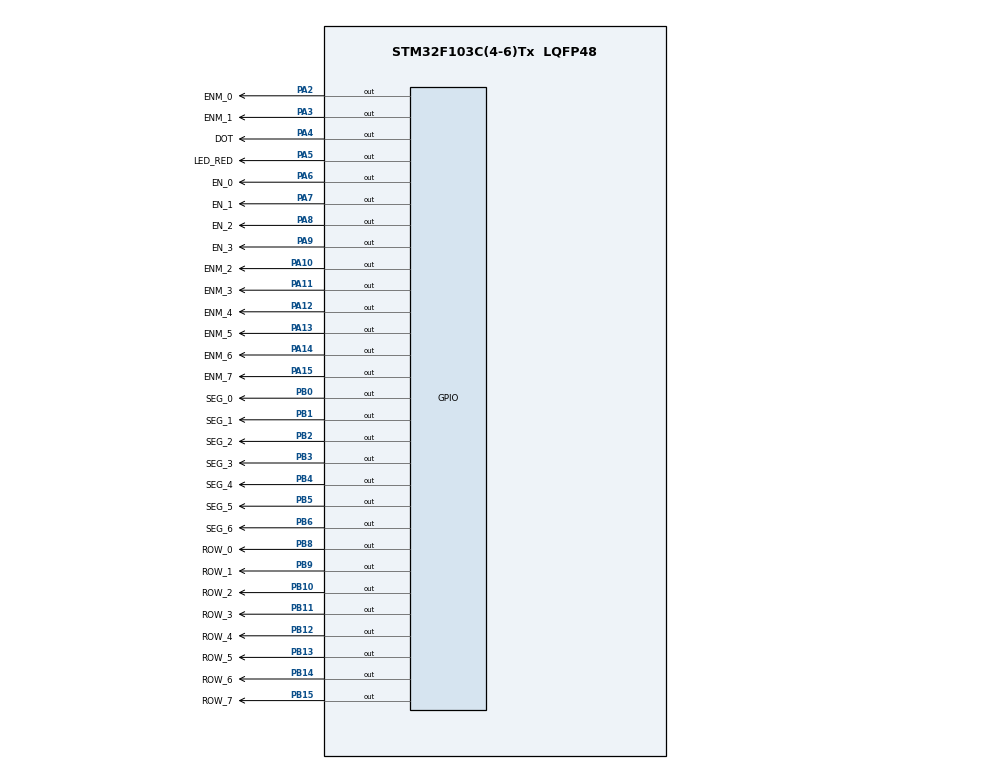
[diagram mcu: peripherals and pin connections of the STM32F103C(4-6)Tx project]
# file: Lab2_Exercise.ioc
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Mcu.Family=STM32F1
Mcu.Name=STM32F103C(4-6)Tx
Mcu.Package=LQFP48
NVIC.PriorityGroup=NVIC_PRIORITYGROUP_4
NVIC.TIM2_IRQn=true\:0\:0\:false\:false\:true\:true\:true\:true
PA10.GPIO_Label=ENM_2
PA10.Signal=GPIO_Output
PA11.GPIO_Label=ENM_3
PA11.Signal=GPIO_Output
PA12.GPIO_Label=ENM_4
PA12.Signal=GPIO_Output
PA13.GPIO_Label=ENM_5
PA13.Signal=GPIO_Output
PA14.GPIO_Label=ENM_6
PA14.Signal=GPIO_Output
PA15.GPIO_Label=ENM_7
PA15.Signal=GPIO_Output
PA2.GPIO_Label=ENM_0
PA2.Signal=GPIO_Output
PA3.GPIO_Label=ENM_1
PA3.Signal=GPIO_Output
PA4.GPIO_Label=DOT
PA4.Signal=GPIO_Output
PA5.GPIO_Label=LED_RED
PA5.Signal=GPIO_Output
PA6.GPIO_Label=EN_0
PA6.Signal=GPIO_Output
PA7.GPIO_Label=EN_1
PA7.Signal=GPIO_Output
PA8.GPIO_Label=EN_2
PA8.Signal=GPIO_Output
PA9.GPIO_Label=EN_3
PA9.Signal=GPIO_Output
PB0.GPIO_Label=SEG_0
PB0.Signal=GPIO_Output
PB1.GPIO_Label=SEG_1
PB1.Signal=GPIO_Output
PB10.GPIO_Label=ROW_2
PB10.Signal=GPIO_Output
PB11.GPIO_Label=ROW_3
PB11.Signal=GPIO_Output
PB12.GPIO_Label=ROW_4
PB12.Signal=GPIO_Output
PB13.GPIO_Label=ROW_5
PB13.Signal=GPIO_Output
PB14.GPIO_Label=ROW_6
PB14.Signal=GPIO_Output
PB15.GPIO_Label=ROW_7
PB15.Signal=GPIO_Output
PB2.GPIO_Label=SEG_2
PB2.Signal=GPIO_Output
PB3.GPIO_Label=SEG_3
PB3.Signal=GPIO_Output
PB4.GPIO_Label=SEG_4
PB4.Signal=GPIO_Output
PB5.GPIO_Label=SEG_5
PB5.Signal=GPIO_Output
PB6.GPIO_Label=SEG_6
PB6.Signal=GPIO_Output
PB8.GPIO_Label=ROW_0
PB8.Signal=GPIO_Output
PB9.GPIO_Label=ROW_1
PB9.Signal=GPIO_Output
ProjectManager.HeapSize=0x200
ProjectManager.StackSize=0x400
ProjectManager.TargetToolchain=STM32CubeIDE
RCC.APB1Freq_Value=8000000
RCC.APB2Freq_Value=8000000
TIM2.Period=9
TIM2.Prescaler=7999
VP_TIM2_VS_ClockSourceINT.Mode=Internal
board=custom

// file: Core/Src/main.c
/* USER CODE BEGIN Header */
/**
  ******************************************************************************
  * @file           : main.c
  * @brief          : Main program body
  ******************************************************************************
  * @attention
  *
  * Copyright (c) 2023 STMicroelectronics.
  * All rights reserved.
  *
  * This software is licensed under terms that can be found in the LICENSE file
  * in the root directory of this software component.
  * If no LICENSE file comes with this software, it is provided AS-IS.
  *
  ******************************************************************************
  */
/* USER CODE END Header */
#include "main.h"

TIM_HandleTypeDef htim2;

void SystemClock_Config(void);
static void MX_GPIO_Init(void);
static void MX_TIM2_Init(void);

/* USER CODE BEGIN 0 */
int hour = 15, minute = 8, second = 50;
int timer0_counter = 0;
int timer0_flag = 0;
int timer1_counter = 0;
int timer1_flag = 0;
int timer2_counter = 0;
int timer2_flag = 0;

int TIME_CYCLE = 10;
void setTimer0(int duration) {
	timer0_counter = duration/TIME_CYCLE;
	timer0_flag = 0;
}
void setTimer1(int duration) {
	timer1_counter = duration/TIME_CYCLE;
	timer1_flag = 0;
}
void setTimer2(int duration) {
	timer2_counter = duration/TIME_CYCLE;
	timer2_flag = 0;
}
void timer_run() {
	if(timer0_counter >0) {
		timer0_counter--;
		if(timer0_counter <= 0) {
			timer0_flag = 1;
		}
	}
	if(timer1_counter >0) {
			timer1_counter--;
			if(timer1_counter <= 0) {
				timer1_flag = 1;
			}
		}
	if(timer2_counter >0) {
		timer2_counter--;
		if(timer2_counter <= 0) {
			timer2_flag = 1;
		}
	}
}
char AnodeNumber[] = {0xC0,0xF9,0xA4,0xB0,0x99,0x92,0x82,0xF8,0x80,0x90,0x80}; //0 - 9,dp
void display7SEG(int num) {
	HAL_GPIO_WritePin(SEG_0_GPIO_Port, SEG_0_Pin, AnodeNumber[num]&0x01?SET:RESET);
	HAL_GPIO_WritePin(SEG_1_GPIO_Port, SEG_1_Pin, AnodeNumber[num]&0x02?SET:RESET);
	HAL_GPIO_WritePin(SEG_2_GPIO_Port, SEG_2_Pin, AnodeNumber[num]&0x04?SET:RESET);
	HAL_GPIO_WritePin(SEG_3_GPIO_Port, SEG_3_Pin, AnodeNumber[num]&0x08?SET:RESET);
	HAL_GPIO_WritePin(SEG_4_GPIO_Port, SEG_4_Pin, AnodeNumber[num]&0x10?SET:RESET);
	HAL_GPIO_WritePin(SEG_5_GPIO_Port, SEG_5_Pin, AnodeNumber[num]&0x20?SET:RESET);
	HAL_GPIO_WritePin(SEG_6_GPIO_Port, SEG_6_Pin, AnodeNumber[num]&0x40?SET:RESET);

}

const int MAX_LED = 4;
int index_led = 0;
int led_buffer[4] = {1, 2, 3, 4};
void update7SEG(int index){
	index = index%MAX_LED;
	switch(index){
	case 0:
		HAL_GPIO_WritePin(EN_0_GPIO_Port, EN_0_Pin, RESET);
		HAL_GPIO_WritePin(EN_1_GPIO_Port, EN_1_Pin, SET);
		HAL_GPIO_WritePin(EN_2_GPIO_Port, EN_2_Pin, SET);
		HAL_GPIO_WritePin(EN_3_GPIO_Port, EN_3_Pin, SET);
		display7SEG((led_buffer[index]));
		break;
	case 1:
		HAL_GPIO_WritePin(EN_0_GPIO_Port, EN_0_Pin, SET);
		HAL_GPIO_WritePin(EN_1_GPIO_Port, EN_1_Pin, RESET);
		HAL_GPIO_WritePin(EN_2_GPIO_Port, EN_2_Pin, SET);
		HAL_GPIO_WritePin(EN_3_GPIO_Port, EN_3_Pin, SET);
		display7SEG(led_buffer[index]);
		break;
	case 2:
		HAL_GPIO_WritePin(EN_0_GPIO_Port, EN_0_Pin, SET);
		HAL_GPIO_WritePin(EN_1_GPIO_Port, EN_1_Pin, SET);
		HAL_GPIO_WritePin(EN_2_GPIO_Port, EN_2_Pin, RESET);
		HAL_GPIO_WritePin(EN_3_GPIO_Port, EN_3_Pin, SET);
		display7SEG(led_buffer[index]);
		break;
	case 3:
		HAL_GPIO_WritePin(EN_0_GPIO_Port, EN_0_Pin, SET);
		HAL_GPIO_WritePin(EN_1_GPIO_Port, EN_1_Pin, SET);
		HAL_GPIO_WritePin(EN_2_GPIO_Port, EN_2_Pin, SET);
		HAL_GPIO_WritePin(EN_3_GPIO_Port, EN_3_Pin, RESET);
		display7SEG(led_buffer[index]);
		break;
	default:
		break;
	}

}

void enable7SEG(int num) {
	HAL_GPIO_WritePin(EN_0_GPIO_Port, EN_0_Pin, num==0?RESET:SET);
	HAL_GPIO_WritePin(EN_1_GPIO_Port, EN_1_Pin, num==1?RESET:SET);
	HAL_GPIO_WritePin(EN_2_GPIO_Port, EN_2_Pin, num==2?RESET:SET);
	HAL_GPIO_WritePin(EN_3_GPIO_Port, EN_3_Pin, num==3?RESET:SET);
}
void updateClockBuffer() {
	led_buffer[0] = hour/10;
	led_buffer[1] = hour%10;
	led_buffer[2] = minute/10;
	led_buffer[3] = minute%10;
}

void enableMatrixCol(int col) {
	HAL_GPIO_WritePin(ENM_0_GPIO_Port, ENM_0_Pin, col==0?RESET:SET);
	HAL_GPIO_WritePin(ENM_1_GPIO_Port, ENM_1_Pin, col==1?RESET:SET);
	HAL_GPIO_WritePin(ENM_2_GPIO_Port, ENM_2_Pin, col==2?RESET:SET);
	HAL_GPIO_WritePin(ENM_3_GPIO_Port, ENM_3_Pin, col==3?RESET:SET);
	HAL_GPIO_WritePin(ENM_4_GPIO_Port, ENM_4_Pin, col==4?RESET:SET);
	HAL_GPIO_WritePin(ENM_5_GPIO_Port, ENM_5_Pin, col==5?RESET:SET);
	HAL_GPIO_WritePin(ENM_6_GPIO_Port, ENM_6_Pin, col==6?RESET:SET);
	HAL_GPIO_WritePin(ENM_7_GPIO_Port, ENM_7_Pin, col==7?RESET:SET);
}

const int MAX_LED_MATRIX = 16;
int index_led_matrix = 0;
int shift_bit = 0;
//uint8_t matrix_buffer[8] = {0x18,0x3C,0x66,0x66,0x7E,0x66,0x66,0x66};
uint8_t matrix_buffer[16] = {0x00,0xFC,0xFE,0x33,0x33,0xFE,0xFC,0x00,0x00,0x00,0xFF,0x99,0x99,0x66,0x00,0x00};
void displayLEDMaxtrix(int index) {
	HAL_GPIO_WritePin(ROW_0_GPIO_Port, ROW_0_Pin, matrix_buffer[index]&0x01?RESET:SET);
	HAL_GPIO_WritePin(ROW_1_GPIO_Port, ROW_1_Pin, matrix_buffer[index]&0x02?RESET:SET);
	HAL_GPIO_WritePin(ROW_2_GPIO_Port, ROW_2_Pin, matrix_buffer[index]&0x04?RESET:SET);
	HAL_GPIO_WritePin(ROW_3_GPIO_Port, ROW_3_Pin, matrix_buffer[index]&0x08?RESET:SET);
	HAL_GPIO_WritePin(ROW_4_GPIO_Port, ROW_4_Pin, matrix_buffer[index]&0x10?RESET:SET);
	HAL_GPIO_WritePin(ROW_5_GPIO_Port, ROW_5_Pin, matrix_buffer[index]&0x20?RESET:SET);
	HAL_GPIO_WritePin(ROW_6_GPIO_Port, ROW_6_Pin, matrix_buffer[index]&0x40?RESET:SET);
	HAL_GPIO_WritePin(ROW_7_GPIO_Port, ROW_7_Pin, matrix_buffer[index]&0x80?RESET:SET);
}

//add shift_bit parameter to implement animation
void updateLEDMatrix(int index, int shift_bit) {
	index%=MAX_LED_MATRIX;
	enableMatrixCol(index);
	displayLEDMaxtrix((index+shift_bit)%MAX_LED_MATRIX);
}

/* USER CODE END 0 */

int main(void)
{

  /* MCU Configuration--------------------------------------------------------*/

  /* Reset of all peripherals, Initializes the Flash interface and the Systick. */
  HAL_Init();

  /* Configure the system clock */
  SystemClock_Config();

  /* Initialize all configured peripherals */
  MX_GPIO_Init();
  MX_TIM2_Init();
  /* USER CODE BEGIN 2 */
  HAL_TIM_Base_Start_IT(&htim2);
  /* USER CODE END 2 */

  /* Infinite loop */
  /* USER CODE BEGIN WHILE */
  setTimer0(1000);
  setTimer1(250);
  setTimer2(50);
  updateClockBuffer();
  while (1)
  {
	  if(timer0_flag == 1) {
		  second++;
		  if (second >= 60){
			  second = 0;
			  minute++;
		  }
		  if(minute >= 60){
			  minute = 0;
			  hour++;
		  }
		  if(hour >=24){
			  hour = 0;
		  }
		  HAL_GPIO_TogglePin(DOT_GPIO_Port, DOT_Pin);
		  updateClockBuffer();
		  setTimer0(1000);
	  }
	  if(timer1_flag == 1) {
		  if(index_led >= MAX_LED) {
		  			index_led=0;
		  }
		  update7SEG(index_led++);
		  setTimer1(250);
	  }
	  //update for animation shift left
	if(timer2_flag == 1) {
	  //check for scan all elements of buffers or not
		if(index_led_matrix >= MAX_LED_MATRIX) {
		  //set index_led_matrix to the beginning of the buffer
		  index_led_matrix=0;
		  //increase shift_bit if all elements of buffers are scanned
		  shift_bit = (shift_bit+1)% MAX_LED_MATRIX;
		}
		updateLEDMatrix(index_led_matrix++, shift_bit);
		setTimer2(50);
		}
    /* USER CODE END WHILE */

  }
}

void SystemClock_Config(void)
{
  RCC_OscInitTypeDef RCC_OscInitStruct = {0};
  RCC_ClkInitTypeDef RCC_ClkInitStruct = {0};

  /** Initializes the RCC Oscillators according to the specified parameters
  * in the RCC_OscInitTypeDef structure.
  */
  RCC_OscInitStruct.OscillatorType = RCC_OSCILLATORTYPE_HSI;
  RCC_OscInitStruct.HSIState = RCC_HSI_ON;
  RCC_OscInitStruct.HSICalibrationValue = RCC_HSICALIBRATION_DEFAULT;
  RCC_OscInitStruct.PLL.PLLState = RCC_PLL_NONE;
  if (HAL_RCC_OscConfig(&RCC_OscInitStruct) != HAL_OK)
  {
    Error_Handler();
  }

  /** Initializes the CPU, AHB and APB buses clocks
  */
  RCC_ClkInitStruct.ClockType = RCC_CLOCKTYPE_HCLK|RCC_CLOCKTYPE_SYSCLK
                              |RCC_CLOCKTYPE_PCLK1|RCC_CLOCKTYPE_PCLK2;
  RCC_ClkInitStruct.SYSCLKSource = RCC_SYSCLKSOURCE_HSI;
  RCC_ClkInitStruct.AHBCLKDivider = RCC_SYSCLK_DIV1;
  RCC_ClkInitStruct.APB1CLKDivider = RCC_HCLK_DIV1;
  RCC_ClkInitStruct.APB2CLKDivider = RCC_HCLK_DIV1;

  if (HAL_RCC_ClockConfig(&RCC_ClkInitStruct, FLASH_LATENCY_0) != HAL_OK)
  {
    Error_Handler();
  }
}

static void MX_TIM2_Init(void)
{

  TIM_ClockConfigTypeDef sClockSourceConfig = {0};
  TIM_MasterConfigTypeDef sMasterConfig = {0};

  htim2.Instance = TIM2;
  htim2.Init.Prescaler = 7999;
  htim2.Init.CounterMode = TIM_COUNTERMODE_UP;
  htim2.Init.Period = 9;
  htim2.Init.ClockDivision = TIM_CLOCKDIVISION_DIV1;
  htim2.Init.AutoReloadPreload = TIM_AUTORELOAD_PRELOAD_DISABLE;
  if (HAL_TIM_Base_Init(&htim2) != HAL_OK)
  {
    Error_Handler();
  }
  sClockSourceConfig.ClockSource = TIM_CLOCKSOURCE_INTERNAL;
  if (HAL_TIM_ConfigClockSource(&htim2, &sClockSourceConfig) != HAL_OK)
  {
    Error_Handler();
  }
  sMasterConfig.MasterOutputTrigger = TIM_TRGO_RESET;
  sMasterConfig.MasterSlaveMode = TIM_MASTERSLAVEMODE_DISABLE;
  if (HAL_TIMEx_MasterConfigSynchronization(&htim2, &sMasterConfig) != HAL_OK)
  {
    Error_Handler();
  }

}

static void MX_GPIO_Init(void)
{
  GPIO_InitTypeDef GPIO_InitStruct = {0};

  /* GPIO Ports Clock Enable */
  __HAL_RCC_GPIOA_CLK_ENABLE();
  __HAL_RCC_GPIOB_CLK_ENABLE();

  /*Configure GPIO pin Output Level */
  HAL_GPIO_WritePin(GPIOA, ENM_0_Pin|ENM_1_Pin|DOT_Pin|LED_RED_Pin
                          |EN_0_Pin|EN_1_Pin|EN_2_Pin|EN_3_Pin
                          |ENM_2_Pin|ENM_3_Pin|ENM_4_Pin|ENM_5_Pin
                          |ENM_6_Pin|ENM_7_Pin, GPIO_PIN_RESET);

  /*Configure GPIO pin Output Level */
  HAL_GPIO_WritePin(GPIOB, SEG_0_Pin|SEG_1_Pin|SEG_2_Pin|ROW_2_Pin
                          |ROW_3_Pin|ROW_4_Pin|ROW_5_Pin|ROW_6_Pin
                          |ROW_7_Pin|SEG_3_Pin|SEG_4_Pin|SEG_5_Pin
                          |SEG_6_Pin|ROW_0_Pin|ROW_1_Pin, GPIO_PIN_RESET);

  /*Configure GPIO pins : ENM_0_Pin ENM_1_Pin DOT_Pin LED_RED_Pin
                           EN_0_Pin EN_1_Pin EN_2_Pin EN_3_Pin
                           ENM_2_Pin ENM_3_Pin ENM_4_Pin ENM_5_Pin
                           ENM_6_Pin ENM_7_Pin */
  GPIO_InitStruct.Pin = ENM_0_Pin|ENM_1_Pin|DOT_Pin|LED_RED_Pin
                          |EN_0_Pin|EN_1_Pin|EN_2_Pin|EN_3_Pin
                          |ENM_2_Pin|ENM_3_Pin|ENM_4_Pin|ENM_5_Pin
                          |ENM_6_Pin|ENM_7_Pin;
  GPIO_InitStruct.Mode = GPIO_MODE_OUTPUT_PP;
  GPIO_InitStruct.Pull = GPIO_NOPULL;
  GPIO_InitStruct.Speed = GPIO_SPEED_FREQ_LOW;
  HAL_GPIO_Init(GPIOA, &GPIO_InitStruct);

  /*Configure GPIO pins : SEG_0_Pin SEG_1_Pin SEG_2_Pin ROW_2_Pin
                           ROW_3_Pin ROW_4_Pin ROW_5_Pin ROW_6_Pin
                           ROW_7_Pin SEG_3_Pin SEG_4_Pin SEG_5_Pin
                           SEG_6_Pin ROW_0_Pin ROW_1_Pin */
  GPIO_InitStruct.Pin = SEG_0_Pin|SEG_1_Pin|SEG_2_Pin|ROW_2_Pin
                          |ROW_3_Pin|ROW_4_Pin|ROW_5_Pin|ROW_6_Pin
                          |ROW_7_Pin|SEG_3_Pin|SEG_4_Pin|SEG_5_Pin
                          |SEG_6_Pin|ROW_0_Pin|ROW_1_Pin;
  GPIO_InitStruct.Mode = GPIO_MODE_OUTPUT_PP;
  GPIO_InitStruct.Pull = GPIO_NOPULL;
  GPIO_InitStruct.Speed = GPIO_SPEED_FREQ_LOW;
  HAL_GPIO_Init(GPIOB, &GPIO_InitStruct);

}

/* USER CODE BEGIN 4 */

void HAL_TIM_PeriodElapsedCallback(TIM_HandleTypeDef *htim) {
	timer_run();
}
/* USER CODE END 4 */

void Error_Handler(void)
{
  __disable_irq();
  while (1)
  {
  }
}
